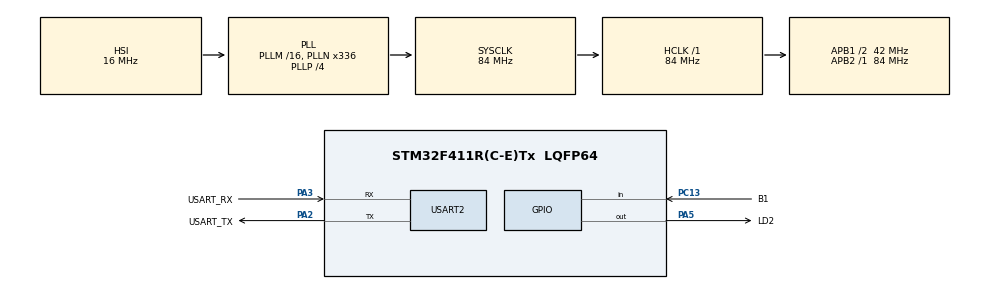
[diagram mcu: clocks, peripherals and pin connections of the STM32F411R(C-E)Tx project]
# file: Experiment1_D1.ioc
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Mcu.Family=STM32F4
Mcu.Name=STM32F411R(C-E)Tx
Mcu.Package=LQFP64
NVIC.PriorityGroup=NVIC_PRIORITYGROUP_0
PA13.GPIO_Label=TMS
PA13.Mode=Serial_Wire
PA13.Signal=SYS_JTMS-SWDIO
PA14.GPIO_Label=TCK
PA14.Mode=Serial_Wire
PA14.Signal=SYS_JTCK-SWCLK
PA2.GPIO_Label=USART_TX
PA2.Mode=Asynchronous
PA2.Signal=USART2_TX
PA3.GPIO_Label=USART_RX
PA3.Mode=Asynchronous
PA3.Signal=USART2_RX
PA5.GPIO_Label=LD2
PA5.Signal=GPIO_Output
PB3.GPIO_Label=SWO
PB3.Signal=SYS_JTDO-SWO
PC13-ANTI_TAMP.GPIO_Label=B1
PC13-ANTI_TAMP.Signal=GPIO_Input
PC14-OSC32_IN.Mode=LSE-External-Oscillator
PC14-OSC32_IN.Signal=RCC_OSC32_IN
PC15-OSC32_OUT.Mode=LSE-External-Oscillator
PC15-OSC32_OUT.Signal=RCC_OSC32_OUT
PH0\ -\ OSC_IN.Mode=HSE-External-Clock-Source
PH0\ -\ OSC_IN.Signal=RCC_OSC_IN
PH1\ -\ OSC_OUT.Mode=HSE-External-Clock-Source
PH1\ -\ OSC_OUT.Signal=RCC_OSC_OUT
ProjectManager.HeapSize=0x200
ProjectManager.StackSize=0x400
ProjectManager.TargetToolchain=STM32CubeIDE
RCC.48MHZClocksFreq_Value=84000000
RCC.AHBFreq_Value=84000000
RCC.APB1CLKDivider=RCC_HCLK_DIV2
RCC.APB1Freq_Value=42000000
RCC.APB1TimFreq_Value=84000000
RCC.APB2Freq_Value=84000000
RCC.APB2TimFreq_Value=84000000
RCC.CortexFreq_Value=84000000
RCC.FLatency-AdvancedSettings=FLASH_LATENCY_2
RCC.HCLKFreq_Value=84000000
RCC.HSE_VALUE=8000000
RCC.HSI_VALUE=16000000
RCC.PLLN=336
RCC.PLLP=RCC_PLLP_DIV4
RCC.SYSCLKFreq_VALUE=84000000
RCC.SYSCLKSource=RCC_SYSCLKSOURCE_PLLCLK
RCC.VCOOutputFreq_Value=336000000
USART2.VirtualMode=VM_ASYNC
board=NUCLEO-F411RE

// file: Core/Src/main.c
/* USER CODE BEGIN Header */
/**
  ******************************************************************************
  * @file           : main.c
  * @brief          : Main program body
  ******************************************************************************
  * @attention
  *
  * Copyright (c) 2022 STMicroelectronics.
  * All rights reserved.
  *
  * This software is licensed under terms that can be found in the LICENSE file
  * in the root directory of this software component.
  * If no LICENSE file comes with this software, it is provided AS-IS.
  *
  ******************************************************************************
  */
/* USER CODE END Header */
#include "main.h"

UART_HandleTypeDef huart2;

void SystemClock_Config(void);
static void MX_GPIO_Init(void);
static void MX_USART2_UART_Init(void);

int main(void)
{

  /* MCU Configuration--------------------------------------------------------*/

  /* Reset of all peripherals, Initializes the Flash interface and the Systick. */
  HAL_Init();

  /* Configure the system clock */
  SystemClock_Config();

  /* Initialize all configured peripherals */
  MX_GPIO_Init();
  MX_USART2_UART_Init();

  /* Infinite loop */
  /* USER CODE BEGIN WHILE */
  while (1)
  {

	  /*
	  //Experiment D1
	  //Button
	  static GPIO_PinState B1State[2] = { 0 };
	  static uint32_t TimeDelay = 500;
	  B1State[0] = HAL_GPIO_ReadPin(GPIOC, GPIO_PIN_13);
	  if (B1State[1] == GPIO_PIN_SET && B1State[0] == GPIO_PIN_RESET){
		  if(TimeDelay == 500){
			  TimeDelay = 1000;
		  }
		  else if(TimeDelay == 1000){
			  TimeDelay = 2000;
		  }
		  else if(TimeDelay == 2000){
	  		  TimeDelay = 3000;
	  	  }
		  else if(TimeDelay == 3000){
	  		  TimeDelay = 500;
	  	  }
	  	  else{
	  		  TimeDelay = 500;
	  	  }
	  }
	  B1State[1] = B1State[0];

	  //LED
	  static uint32_t timeStamp = 0;
	  if (HAL_GetTick() - timeStamp >= TimeDelay){
		  timeStamp = HAL_GetTick();
		  HAL_GPIO_TogglePin(GPIOA, GPIO_PIN_5);
	  }
	  */

	  /*
	  //Experiment D3
	  static uint32_t TimeDelay = 2000;
	  static uint32_t timeStamp = 0;
	  static GPIO_PinState B1State[2] = {0};
	  B1State[0] = HAL_GPIO_ReadPin(GPIOC, GPIO_PIN_13);

	  static enum {Beginnaja, Endnaja} STATE = Beginnaja;

	  switch(STATE){
	  	  case Beginnaja :
	  		  if (HAL_GetTick() - timeStamp >= TimeDelay){
	  			  timeStamp = HAL_GetTick();
	  			  HAL_GPIO_TogglePin(GPIOA, GPIO_PIN_5);
	  		  }
	  		  if (B1State[1] == GPIO_PIN_SET && B1State[0] == GPIO_PIN_RESET){
	  			  STATE = Endnaja;
	  		  }
	  		  break;
	  	  case Endnaja :
	  		  HAL_GPIO_TogglePin(GPIOA, GPIO_PIN_5);
	  		  if (B1State[1] == GPIO_PIN_SET && B1State[0] == GPIO_PIN_RESET){
	  			  STATE = Beginnaja;
	  		  }
	  		  break;
	  }
	  B1State[1] = B1State[0]; // ทำ�?าร update state save state ที�?�?ล�?ว�?า�?�?ารว�? loop
//	  if (B1State[1] == GPIO_PIN_SET && B1State[0] == GPIO_PIN_RESET){
//		  HAL_GPIO_TogglePin(GPIOA, GPIO_PIN_5);
//	  }
//	  B1State[1] = B1State[0];					// ทำ�?าร update state save state ที�?�?ล�?ว�?า�?�?ารว�? loop
//
//	  if (HAL_GetTick() - timeStamp >= TimeDelay){
//		  timeStamp = HAL_GetTick();
//		  HAL_GPIO_TogglePin(GPIOA, GPIO_PIN_5);
//	  }
		*/

	  //Experiment D5
	  static uint32_t timeDelay = 500;
	  static int mode = 0;
	  static GPIO_PinState B1State[2] = {0};                            // static will declare only one time
	  B1State[0] = HAL_GPIO_ReadPin(GPIOC, GPIO_PIN_13);
	  if (B1State[1] == GPIO_PIN_SET && B1State[0] == GPIO_PIN_RESET)    // falling edge detect
	  {
		  if(mode == 0){
			  mode = 1;
		  }
	      else {mode = 0;}
	  }
	  B1State[1] = B1State[0];
	  static uint32_t timeStamp = 0;
	  if(HAL_GetTick() - timeStamp >= timeDelay)
	  {
		  timeStamp = HAL_GetTick();
	      if (mode == 0){
	    	  if (timeDelay == 500){
	    		  HAL_GPIO_WritePin(GPIOA, GPIO_PIN_5, GPIO_PIN_RESET);
	              timeDelay = 1500;
	          } else {
	              HAL_GPIO_WritePin(GPIOA, GPIO_PIN_5, GPIO_PIN_SET);
	              timeDelay = 500;
	          	  }
	            }
	            else if (mode == 1){
	                if (timeDelay == 500){
	                    HAL_GPIO_WritePin(GPIOA, GPIO_PIN_5, GPIO_PIN_SET);
	                    timeDelay = 1500;
	                } else {
	                    HAL_GPIO_WritePin(GPIOA, GPIO_PIN_5, GPIO_PIN_RESET);
	                    timeDelay = 500;
	                }
	            }
	        }

	  //Challenge use PWM to control brightness LED

    /* USER CODE END WHILE */

  }
}

void SystemClock_Config(void)
{
  RCC_OscInitTypeDef RCC_OscInitStruct = {0};
  RCC_ClkInitTypeDef RCC_ClkInitStruct = {0};

  /** Configure the main internal regulator output voltage
  */
  __HAL_RCC_PWR_CLK_ENABLE();
  __HAL_PWR_VOLTAGESCALING_CONFIG(PWR_REGULATOR_VOLTAGE_SCALE1);
  /** Initializes the RCC Oscillators according to the specified parameters
  * in the RCC_OscInitTypeDef structure.
  */
  RCC_OscInitStruct.OscillatorType = RCC_OSCILLATORTYPE_HSI;
  RCC_OscInitStruct.HSIState = RCC_HSI_ON;
  RCC_OscInitStruct.HSICalibrationValue = RCC_HSICALIBRATION_DEFAULT;
  RCC_OscInitStruct.PLL.PLLState = RCC_PLL_ON;
  RCC_OscInitStruct.PLL.PLLSource = RCC_PLLSOURCE_HSI;
  RCC_OscInitStruct.PLL.PLLM = 16;
  RCC_OscInitStruct.PLL.PLLN = 336;
  RCC_OscInitStruct.PLL.PLLP = RCC_PLLP_DIV4;
  RCC_OscInitStruct.PLL.PLLQ = 4;
  if (HAL_RCC_OscConfig(&RCC_OscInitStruct) != HAL_OK)
  {
    Error_Handler();
  }
  /** Initializes the CPU, AHB and APB buses clocks
  */
  RCC_ClkInitStruct.ClockType = RCC_CLOCKTYPE_HCLK|RCC_CLOCKTYPE_SYSCLK
                              |RCC_CLOCKTYPE_PCLK1|RCC_CLOCKTYPE_PCLK2;
  RCC_ClkInitStruct.SYSCLKSource = RCC_SYSCLKSOURCE_PLLCLK;
  RCC_ClkInitStruct.AHBCLKDivider = RCC_SYSCLK_DIV1;
  RCC_ClkInitStruct.APB1CLKDivider = RCC_HCLK_DIV2;
  RCC_ClkInitStruct.APB2CLKDivider = RCC_HCLK_DIV1;

  if (HAL_RCC_ClockConfig(&RCC_ClkInitStruct, FLASH_LATENCY_2) != HAL_OK)
  {
    Error_Handler();
  }
}

static void MX_USART2_UART_Init(void)
{

  huart2.Instance = USART2;
  huart2.Init.BaudRate = 115200;
  huart2.Init.WordLength = UART_WORDLENGTH_8B;
  huart2.Init.StopBits = UART_STOPBITS_1;
  huart2.Init.Parity = UART_PARITY_NONE;
  huart2.Init.Mode = UART_MODE_TX_RX;
  huart2.Init.HwFlowCtl = UART_HWCONTROL_NONE;
  huart2.Init.OverSampling = UART_OVERSAMPLING_16;
  if (HAL_UART_Init(&huart2) != HAL_OK)
  {
    Error_Handler();
  }

}

static void MX_GPIO_Init(void)
{
  GPIO_InitTypeDef GPIO_InitStruct = {0};

  /* GPIO Ports Clock Enable */
  __HAL_RCC_GPIOC_CLK_ENABLE();
  __HAL_RCC_GPIOH_CLK_ENABLE();
  __HAL_RCC_GPIOA_CLK_ENABLE();
  __HAL_RCC_GPIOB_CLK_ENABLE();

  /*Configure GPIO pin Output Level */
  HAL_GPIO_WritePin(LD2_GPIO_Port, LD2_Pin, GPIO_PIN_RESET);

  /*Configure GPIO pin : B1_Pin */
  GPIO_InitStruct.Pin = B1_Pin;
  GPIO_InitStruct.Mode = GPIO_MODE_INPUT;
  GPIO_InitStruct.Pull = GPIO_NOPULL;
  HAL_GPIO_Init(B1_GPIO_Port, &GPIO_InitStruct);

  /*Configure GPIO pin : LD2_Pin */
  GPIO_InitStruct.Pin = LD2_Pin;
  GPIO_InitStruct.Mode = GPIO_MODE_OUTPUT_PP;
  GPIO_InitStruct.Pull = GPIO_NOPULL;
  GPIO_InitStruct.Speed = GPIO_SPEED_FREQ_LOW;
  HAL_GPIO_Init(LD2_GPIO_Port, &GPIO_InitStruct);

}

void Error_Handler(void)
{
  __disable_irq();
  while (1)
  {
  }
}
